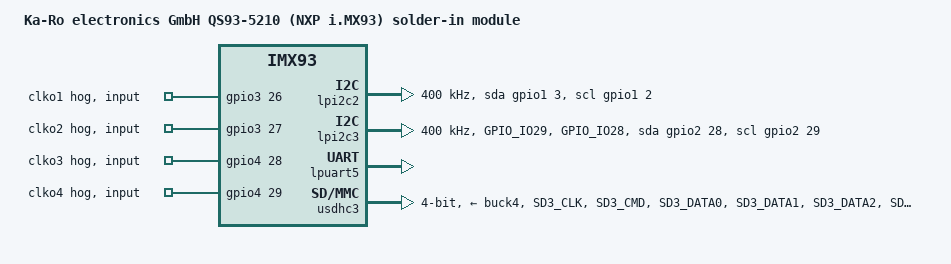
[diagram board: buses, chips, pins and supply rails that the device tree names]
// SPDX-License-Identifier: (GPL-2.0+ OR MIT)
/*
 * Copyright 2023 Lothar Waßmann <LW@KARO-electronics.de>
 */

/dts-v1/;

#include "imx93-karo.dtsi"

/{
	model = "Ka-Ro electronics GmbH QS93-5210 (NXP i.MX93) solder-in module";
	compatible = "karo,qs93-5210", "fsl,imx93";

	aliases {
		mmc1 = &usdhc3;
		mmc2 = &usdhc2;
	};
};

&gpio3 {
	clko1 {
		/* pin 20 */
		gpio-hog;
		gpios = <26 GPIO_ACTIVE_HIGH>;
		input;
	};

	clko2 {
		/* NC */
		gpio-hog;
		gpios = <27 GPIO_ACTIVE_HIGH>;
		input;
	};
};

&gpio4 {
	clko3 {
		/* NC */
		gpio-hog;
		gpios = <28 GPIO_ACTIVE_HIGH>;
		input;
	};

	clko4 {
		/* NC */
		gpio-hog;
		gpios = <29 GPIO_ACTIVE_HIGH>;
		input;
	};
};

&lpi2c2 {
	clock-frequency = <400000>;
	pinctrl-names = "default", "gpio";
	pinctrl-0 = <&pinctrl_lpi2c2>;
	pinctrl-1 = <&pinctrl_lpi2c2_gpio>;
	scl-gpios = <&gpio1 2 (GPIO_ACTIVE_HIGH | GPIO_OPEN_DRAIN)>;
	sda-gpios = <&gpio1 3 (GPIO_ACTIVE_HIGH | GPIO_OPEN_DRAIN)>;
	status = "okay";
};

&lpi2c3 {
	clock-frequency = <400000>;
	pinctrl-names = "default", "gpio";
	pinctrl-0 = <&pinctrl_lpi2c3>;
	pinctrl-1 = <&pinctrl_lpi2c3_gpio>;
	scl-gpios = <&gpio2 29 (GPIO_ACTIVE_HIGH | GPIO_OPEN_DRAIN)>;
	sda-gpios = <&gpio2 28 (GPIO_ACTIVE_HIGH | GPIO_OPEN_DRAIN)>;
	status = "okay";
};

&lpuart1 { /* console */
	pinctrl-0 = <&pinctrl_uart1>;
};

&lpuart5 {
	status = "okay";
};

&usdhc3 {
	pinctrl-names = "default";
	pinctrl-0 = <&pinctrl_usdhc3 &pinctrl_usdhc3_cd>;
	cd-gpios = <&gpio3 6 GPIO_ACTIVE_LOW>;
	vmmc-supply = <&buck4>;
	vqmmc-supply = <&buck4>;
	bus-width = <4>;
	no-1-8-v;
	no-sdio;
	no-mmc;
	status = "okay";
};

&iomuxc {
	pinctrl-names = "default";
	pinctrl-0 = <&pinctrl_hog>;

	pinctrl_hog: hoggrp {
		fsl,pins = <
			MX93_PAD_CCM_CLKO1__GPIO3_IO26				0x400
			MX93_PAD_CCM_CLKO2__GPIO3_IO27				0x400
			MX93_PAD_CCM_CLKO3__GPIO4_IO28				0x400
			MX93_PAD_CCM_CLKO4__GPIO4_IO29				0x400
		>;
	};

	pinctrl_lpi2c3: lpi2c3grp {
		fsl,pins = <
			MX93_PAD_GPIO_IO29__LPI2C3_SCL				0x40001b9e
			MX93_PAD_GPIO_IO28__LPI2C3_SDA				0x40001b9e
		>;
	};

	pinctrl_lpi2c3_gpio: lpi2c3-gpiogrp {
		fsl,pins = <
			MX93_PAD_GPIO_IO29__GPIO2_IO29				0x40001b9e
			MX93_PAD_GPIO_IO28__GPIO2_IO28				0x40001b9e
		>;
	};

	pinctrl_pmic: pmic-intgrp {
		fsl,pins = <
			MX93_PAD_PDM_BIT_STREAM1__GPIO1_IO10			0x31e
		>;
	};

	pinctrl_usdhc3: usdhc3grp {
		fsl,pins = <
			MX93_PAD_SD3_CLK__USDHC3_CLK				0x17fe
			MX93_PAD_SD3_CMD__USDHC3_CMD				0x13fe
			MX93_PAD_SD3_DATA0__USDHC3_DATA0			0x13fe
			MX93_PAD_SD3_DATA1__USDHC3_DATA1			0x13fe
			MX93_PAD_SD3_DATA2__USDHC3_DATA2			0x13fe
			MX93_PAD_SD3_DATA3__USDHC3_DATA3			0x13fe
		>;
	};

	pinctrl_usdhc3_cd: usdhc3-cdgrp {
		fsl,pins = <
			MX93_PAD_SD2_DATA3__GPIO3_IO06				0x1200
		>;
	};
};
